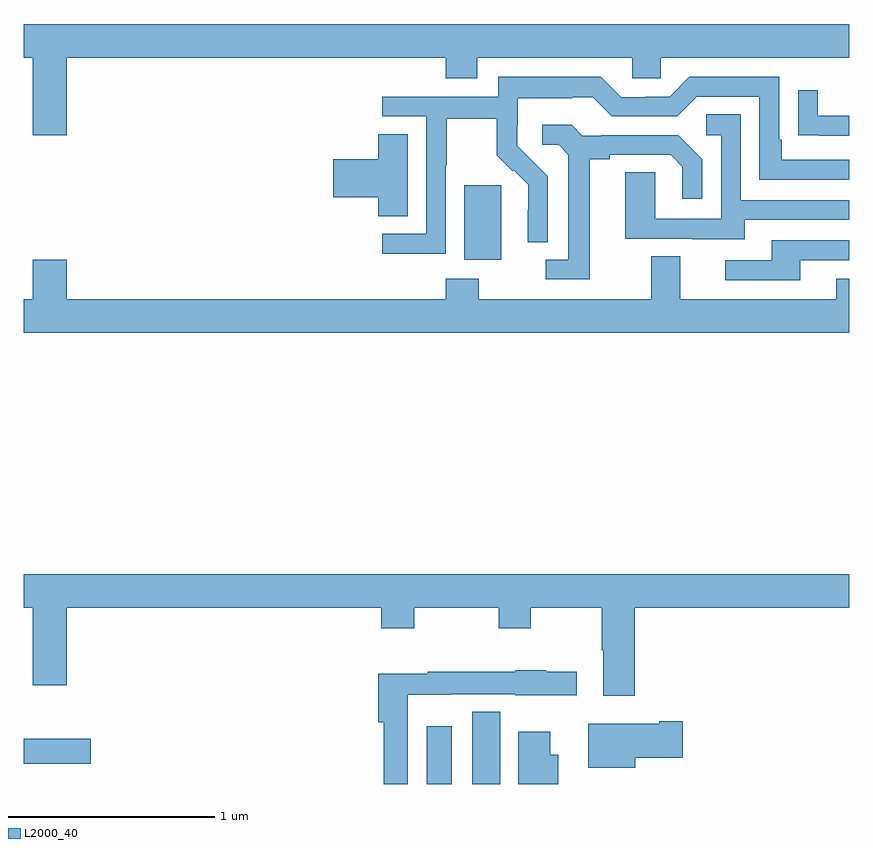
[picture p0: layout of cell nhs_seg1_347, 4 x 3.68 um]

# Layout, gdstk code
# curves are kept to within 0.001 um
import gdstk
lib = gdstk.Library(unit=1e-6, precision=1e-09)
def R(c, l, rs):  # rectangles x0, y0, x1, y1
    for r in rs: c.add(gdstk.rectangle(r[:2], r[2:], *l))
def P(c, l, *ps):  # polygons
    for p in ps: c.add(gdstk.Polygon(p, *l))
L2000_40 = (2000, 40)

nhs_seg1_347 = lib.new_cell('nhs_seg1_347')
R(nhs_seg1_347, L2000_40, [(130.952,564.199,131.074,564.478), (131.174,564.199,131.308,564.548), (129,564.296,129.325,564.418), (131.135,566.738,131.314,567.099)])
P(nhs_seg1_347, L2000_40, [(129.208,567.716),(131.045,567.716),(131.045,567.617),(131.197,567.617),(131.197,567.716),(131.949,567.716),(131.949,567.618),(132.087,567.618),(132.087,567.716),(133,567.716),(133,567.88),(129,567.88),(129,567.716),(129.044,567.716),(129.044,567.342),(129.208,567.342)],
  [(131.046,567.196),(131.049,567.196),(131.049,567.42),(131.293,567.42),(131.293,567.245),(131.37,567.168),(131.373,567.171),(131.444,567.101),(131.444,566.978),(131.442,566.978),(131.442,566.824),(131.538,566.824),(131.538,567.142),(131.392,567.29),(131.392,567.387),(131.394,567.387),(131.394,567.521),(131.657,567.521),(131.657,567.525),(131.757,567.525),(131.85,567.432),(132.165,567.432),(132.261,567.528),(132.564,567.528),(132.564,567.126),(133,567.126),(133,567.222),(132.673,567.222),(132.673,567.319),(132.66,567.319),(132.66,567.624),(132.225,567.624),(132.129,567.528),(132.011,567.528),(132.011,567.525),(131.895,567.525),(131.795,567.625),(131.298,567.625),(131.298,567.528),(130.737,567.528),(130.737,567.432),(130.95,567.432),(130.95,566.865),(130.737,566.865),(130.737,566.767),(131.046,566.767)],
  [(133,567.435),(132.847,567.435),(132.847,567.559),(132.751,567.559),(132.751,567.34),(132.853,567.34),(132.853,567.339),(133,567.339)],
  [(132.493,566.931),(133,566.931),(133,567.027),(132.474,567.027),(132.474,567.443),(132.306,567.443),(132.306,567.342),(132.378,567.342),(132.378,566.937),(132.06,566.937),(132.06,567.161),(131.915,567.161),(131.915,566.841),(132.239,566.841),(132.239,566.837),(132.493,566.837)],
  [(131.743,567.224),(131.839,567.224),(131.839,567.246),(132.134,567.246),(132.191,567.189),(132.191,567.033),(132.288,567.033),(132.288,567.226),(132.172,567.342),(131.8,567.342),(131.8,567.339),(131.706,567.339),(131.654,567.391),(131.511,567.391),(131.511,567.294),(131.592,567.294),(131.639,567.247),(131.639,566.739),(131.529,566.739),(131.529,566.643),(131.743,566.643)],
  [(130.861,567.347),(130.718,567.347),(130.718,567.224),(130.5,567.224),(130.5,567.041),(130.718,567.041),(130.718,566.95),(130.861,566.95)],
  [(132.763,566.736),(133,566.736),(133,566.832),(132.623,566.832),(132.623,566.736),(132.399,566.736),(132.399,566.64),(132.763,566.64)],
  [(133,566.647),(132.935,566.647),(132.935,566.548),(132.181,566.548),(132.181,566.756),(132.041,566.756),(132.041,566.548),(131.205,566.548),(131.205,566.647),(131.045,566.647),(131.045,566.548),(129.208,566.548),(129.208,566.737),(129.044,566.737),(129.044,566.548),(129,566.548),(129,566.384),(133,566.384)],
  [(131.96,565.052),(133,565.052),(133,565.216),(129,565.216),(129,565.052),(129.044,565.052),(129.044,564.678),(129.208,564.678),(129.208,565.052),(130.733,565.052),(130.733,564.953),(130.893,564.953),(130.893,565.052),(131.302,565.052),(131.302,564.953),(131.457,564.953),(131.457,565.052),(131.8,565.052),(131.8,564.848),(131.807,564.848),(131.807,564.627),(131.96,564.627)],
  [(130.86,564.632),(131.07,564.632),(131.07,564.633),(131.382,564.633),(131.382,564.629),(131.68,564.629),(131.68,564.742),(131.532,564.742),(131.532,564.751),(131.382,564.751),(131.382,564.742),(130.957,564.742),(130.957,564.732),(130.718,564.732),(130.718,564.497),(130.744,564.497),(130.744,564.199),(130.86,564.199)],
  [(131.962,564.325),(132.193,564.325),(132.193,564.503),(132.08,564.503),(132.08,564.49),(131.735,564.49),(131.735,564.278),(131.962,564.278)],
  [(131.59,564.34),(131.551,564.34),(131.551,564.451),(131.396,564.451),(131.396,564.199),(131.59,564.199)])

lib.write_gds('nhs_seg1_347.gds')
